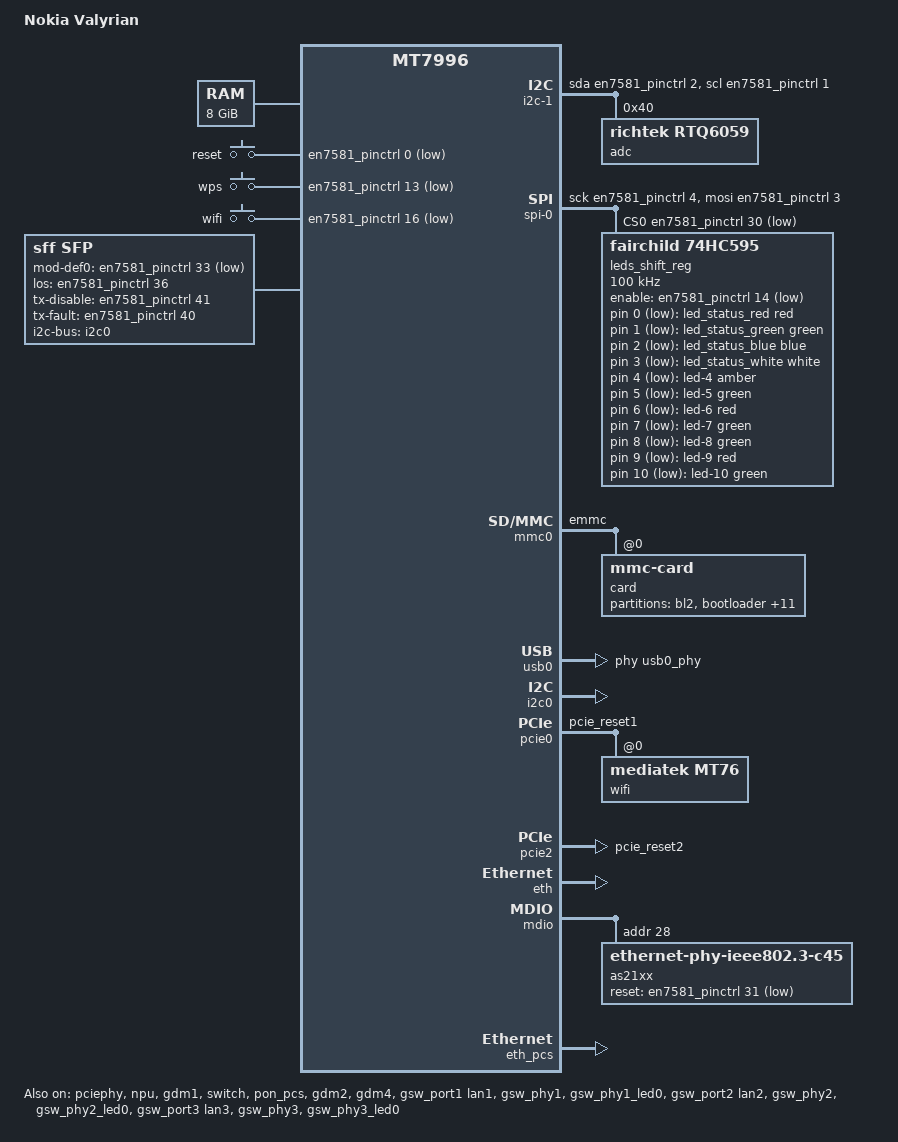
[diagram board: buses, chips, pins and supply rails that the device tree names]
// SPDX-License-Identifier: (GPL-2.0-only OR BSD-2-Clause)
/dts-v1/;

#include <dt-bindings/leds/common.h>
#include <dt-bindings/gpio/gpio.h>
#include <dt-bindings/input/input.h>
#include "an7581.dtsi"
#include "an7581-npu-mt7996.dtsi"

/ {
	model = "Nokia Valyrian";
	compatible = "nokia,valyrian", "airoha,an7581", "airoha,en7581";

	aliases {
		serial0 = &uart1;
		led-boot = &led_status_white;
		led-failsafe = &led_status_red;
		led-running = &led_status_green;
		led-upgrade = &led_status_blue;
	};

	chosen {
		bootargs = "earlycon";
		stdout-path = "serial0:115200n8";
	};

	memory@80000000 {
		device_type = "memory";
		reg = <0x0 0x80000000 0x2 0x00000000>;
	};

	gpio-keys {
		compatible = "gpio-keys";

		btn-0 {
			label = "reset";
			linux,code = <KEY_RESTART>;
			gpios = <&en7581_pinctrl 0 GPIO_ACTIVE_LOW>;
		};

		btn-1 {
			label = "wps";
			linux,code = <KEY_WPS_BUTTON>;
			gpios = <&en7581_pinctrl 13 GPIO_ACTIVE_LOW>;
		};

		btn-2 {
			label = "wifi";
			linux,code = <KEY_RFKILL>;
			gpios = <&en7581_pinctrl 16 GPIO_ACTIVE_LOW>;
		};
	};

	leds {
		compatible = "gpio-leds";

		led_status_red: led-0 {
			function = LED_FUNCTION_STATUS;
			color = <LED_COLOR_ID_RED>;
			gpios = <&leds_shift_reg 0 GPIO_ACTIVE_LOW>;
		};

		led_status_green: led-1 {
			function = LED_FUNCTION_STATUS;
			color = <LED_COLOR_ID_GREEN>;
			gpios = <&leds_shift_reg 1 GPIO_ACTIVE_LOW>;
		};

		led_status_blue: led-2 {
			function = LED_FUNCTION_STATUS;
			color = <LED_COLOR_ID_BLUE>;
			gpios = <&leds_shift_reg 2 GPIO_ACTIVE_LOW>;
		};

		led_status_white: led-3 {
			function = LED_FUNCTION_STATUS;
			color = <LED_COLOR_ID_WHITE>;
			gpios = <&leds_shift_reg 3 GPIO_ACTIVE_LOW>;
		};

		led-4 {
			function = LED_FUNCTION_POWER;
			color = <LED_COLOR_ID_AMBER>;
			gpios = <&leds_shift_reg 4 GPIO_ACTIVE_LOW>;
		};

		led-5 {
			function = LED_FUNCTION_POWER;
			color = <LED_COLOR_ID_GREEN>;
			gpios = <&leds_shift_reg 5 GPIO_ACTIVE_LOW>;
			default-state = "on";
		};

		led-6 {
			function = LED_FUNCTION_POWER;
			color = <LED_COLOR_ID_RED>;
			gpios = <&leds_shift_reg 6 GPIO_ACTIVE_LOW>;
		};

		led-7 {
			function = LED_FUNCTION_MOBILE;
			color = <LED_COLOR_ID_GREEN>;
			gpios = <&leds_shift_reg 7 GPIO_ACTIVE_LOW>;
		};

		led-8 {
			function = LED_FUNCTION_WAN;
			color = <LED_COLOR_ID_GREEN>;
			gpios = <&leds_shift_reg 8 GPIO_ACTIVE_LOW>;
		};

		led-9 {
			function = LED_FUNCTION_WAN;
			color = <LED_COLOR_ID_RED>;
			gpios = <&leds_shift_reg 9 GPIO_ACTIVE_LOW>;
		};

		led-10 {
			function = LED_FUNCTION_USB;
			color = <LED_COLOR_ID_GREEN>;
			gpios = <&leds_shift_reg 10 GPIO_ACTIVE_LOW>;
		};
	};

	sfp: sfp {
		compatible = "sff,sfp";

		i2c-bus = <&i2c0>;

		mod-def0-gpios = <&en7581_pinctrl 33 GPIO_ACTIVE_LOW>;
		los-gpios = <&en7581_pinctrl 36 GPIO_ACTIVE_HIGH>;
		tx-disable-gpios = <&en7581_pinctrl 41 GPIO_ACTIVE_HIGH>;
		tx-fault-gpios = <&en7581_pinctrl 40 GPIO_ACTIVE_HIGH>;
		maximum-power-milliwatt = <3000>;
	};

	i2c-1 {
		compatible = "i2c-gpio";

		sda-gpios = <&en7581_pinctrl 2 (GPIO_ACTIVE_HIGH|GPIO_OPEN_DRAIN)>;
		scl-gpios = <&en7581_pinctrl 1 (GPIO_ACTIVE_HIGH|GPIO_OPEN_DRAIN)>;
		i2c-gpio,delay-us = <2>;	/* ~100 kHz */

		#address-cells = <1>;
		#size-cells = <0>;

		adc@40 {
			compatible = "richtek,rtq6059";
			reg = <0x40>;

			shunt-resistor-micro-ohms = <5000>;

			#io-channel-cells = <1>;
		};
	};

	spi-0 {
                compatible = "spi-gpio";

                sck-gpios = <&en7581_pinctrl 4 GPIO_ACTIVE_HIGH>;
                mosi-gpios = <&en7581_pinctrl 3 GPIO_ACTIVE_HIGH>;
                cs-gpios = <&en7581_pinctrl 30 GPIO_ACTIVE_LOW>;

                num-chipselects = <1>;

                #address-cells = <1>;
                #size-cells = <0>;

                leds_shift_reg: gpio-expander@0 {
                        compatible = "fairchild,74hc595";
                        reg = <0>;

			enable-gpios = <&en7581_pinctrl 14 GPIO_ACTIVE_LOW>;

                        gpio-controller;

                        registers-number = <2>;
                        spi-max-frequency = <100000>;

                        #gpio-cells = <2>;
                };
        };
};

&en7581_pinctrl {
	gpio-ranges = <&en7581_pinctrl 0 13 47>;

	pcie1_rst_pins: pcie1-rst-pins {
		conf {
			pins = "pcie_reset1";
			drive-open-drain = <1>;
		};
	};

	pcie2_rst_pins: pcie2-rst-pins {
		conf {
			pins = "pcie_reset2";
			drive-open-drain = <1>;
		};
	};

	gswp1_led0_pins: gswp1-led1-pins {
		mux {
			function = "phy1_led0";
			pins = "gpio43";
		};
	};

	gswp2_led0_pins: gswp2-led1-pins {
		mux {
			function = "phy2_led0";
			pins = "gpio44";
		};
	};

	gswp3_led0_pins: gswp3-led1-pins {
		mux {
			function = "phy3_led0";
			pins = "gpio45";
		};
	};

	mmc_pins: mmc-pins {
		mux {
			function = "emmc";
			groups = "emmc";
		};
	};
};

&mmc0 {
	pinctrl-names = "default", "state_uhs";
	pinctrl-0 = <&mmc_pins>;
	pinctrl-1 = <&mmc_pins>;
	status = "okay";

	#address-cells = <1>;
	#size-cells = <0>;

	card@0 {
		compatible = "mmc-card";
		reg = <0>;

		partitions {
			compatible = "fixed-partitions";
			#address-cells = <1>;
			#size-cells = <1>;

			bl@800 {
				label = "bl2";
				reg = <0x00000800 0x0001f800>;
			};

			bootloader@20000 {
				label = "bootloader";
				reg = <0x00020000 0x000e0000>;
			};

			bootloader-inactive@100000 {
				label = "bootloader-inactive";
				reg = <0x00100000 0x000e0000>;
			};

			u-boot-env@1e0000 {
				label = "u-boot-env";
				reg = <0x001e0000 0x00020000>;

				nvmem-layout {
					compatible = "u-boot,env-layout";
				};
			};

			factory@200000 {
				label = "factory";
				reg = <0x00200000 0x00800000>;

				nvmem-layout {
					compatible = "fixed-layout";
					#address-cells = <1>;
					#size-cells = <1>;

					eeprom_factory_0: eeprom@0 {
						reg = <0x40000 0x1e00>;
					};

					mac_factory_2c0000: mac@2c0000 {
						compatible = "mac-base";
						reg = <0x2c0000 0x6>;

						#nvmem-cell-cells = <1>;
					};

					onu_type_factory_2e0000: onu_type@2e0000 {
						reg = <0x2e0000 0x10>;
					};

					board_config_factory_2e0010: board_config@2e0010 {
						reg = <0x2e0010 0x8>;
					};
				};
			};

			mfgdata@a00000 {
				label = "mfgdata";
				reg = <0x00a00000 0x00100000>;
			};

			kernel-active@b00000 {
				label = "kernel-active";
				reg = <0x00b00000 0x00800000>;
			};

			kernel-inactive@1300000 {
				label = "kernel-inactive";
				reg = <0x01300000 0x00800000>;
			};

			rootfs-active@1b00000 {
				label = "rootfs-active";
				reg = <0x01b00000 0x06400000>;
			};

			rootfs-inactive@7f00000 {
				label = "rootfs-inactive";
				reg = <0x07f00000 0x06400000>;
			};

			rootfs-data@e300000 {
				label = "rootfs_data";
				reg = <0x0e300000 0x02000000>;
			};

			securestore@10300000 {
				label = "securestore";
				reg = <0x10300000 0x1000000>;
			};

			lcm-data@11300000 {
				label = "lcm_data";
				reg = <0x11300000 0x40000000>;
			};
		};
	};
};

&usb0 {
	status = "okay";

	mediatek,u3p-dis-msk = <0x1>;
	phys = <&usb0_phy PHY_TYPE_USB2>;
};

&i2c0 {
	status = "okay";
};

&pciephy {
	status = "okay";
};

&pcie0 {
	airoha,x2-mode;
	pinctrl-names = "default";
	pinctrl-0 = <&pcie1_rst_pins>;
	status = "okay";

	pcie@0,0 {
		reg = <0x0000 0 0 0 0>;

		wifi@0,0 {
			compatible = "mediatek,mt76";
			reg = <0x0000 0 0 0 0>;

			nvmem-cells = <&eeprom_factory_0>;
			nvmem-cell-names = "eeprom";

			airoha,npu = <&npu>;
			airoha,eth = <&eth>;

			band@0 {
				/* 2.4 GHz */
				reg = <0>;
				nvmem-cells = <&mac_factory_2c0000 6>;
				nvmem-cell-names = "mac-address";
			};

			band@1 {
				/* 5 GHz */
				reg = <1>;
				nvmem-cells = <&mac_factory_2c0000 7>;
				nvmem-cell-names = "mac-address";
			};

			band@2 {
				/* 6 GHz */
				reg = <2>;
				nvmem-cells =<&mac_factory_2c0000 8>;
				nvmem-cell-names = "mac-address";
			};
		};
	};
};

&pcie2 {
	pinctrl-names = "default";
	pinctrl-0 = <&pcie2_rst_pins>;
	status = "okay";
};

&npu {
	status = "okay";
};

&eth {
	status = "okay";
};

&gdm1 {
	status = "okay";

	nvmem-cells = <&mac_factory_2c0000 3>;
	nvmem-cell-names = "mac-address";
};

&mdio {
	as21xx: ethernet-phy@1c {
		compatible = "ethernet-phy-ieee802.3-c45";
		reg = <0x1c>;

		firmware-name = "as21x1x_fw.bin";

		reset-deassert-us = <1000000>;
		reset-assert-us = <1000000>;
		reset-gpios = <&en7581_pinctrl 31 GPIO_ACTIVE_LOW>;

		leds {
			#address-cells = <1>;
			#size-cells = <0>;

			led@0 {
				reg = <0>;
				color = <LED_COLOR_ID_GREEN>;
				function = LED_FUNCTION_LAN;
				default-state = "keep";
			};
		};
	};
};

&switch {
	status = "okay";
};

&pon_pcs {
	status = "okay";
};

&gdm2 {
	status = "okay";

	sfp = <&sfp>;

	managed = "in-band-status";
	phy-mode = "usxgmii";

	nvmem-cells = <&mac_factory_2c0000 4>;
	nvmem-cell-names = "mac-address";

	openwrt,netdev-name = "wan";
};

&eth_pcs {
	status = "okay";
};

&gdm4 {
	status = "okay";

	managed = "in-band-status";
	phy-handle = <&as21xx>;
	phy-mode = "usxgmii";

	nvmem-cells = <&mac_factory_2c0000 5>;
	nvmem-cell-names = "mac-address";

	openwrt,netdev-name = "10g";
};

&gsw_port1 {
	label = "lan1";

	status = "okay";
};

&gsw_phy1 {
	pinctrl-names = "gbe-led";
	pinctrl-0 = <&gswp1_led0_pins>;

	status = "okay";
};

&gsw_phy1_led0 {
	function = LED_FUNCTION_LAN;
	active-low;

	status = "okay";
};

&gsw_port2 {
	label = "lan2";

	status = "okay";
};

&gsw_phy2 {
	pinctrl-names = "gbe-led";
	pinctrl-0 = <&gswp2_led0_pins>;

	status = "okay";
};

&gsw_phy2_led0 {
	function = LED_FUNCTION_LAN;
	active-low;

	status = "okay";
};

&gsw_port3 {
	label = "lan3";

	status = "okay";
};

&gsw_phy3 {
	pinctrl-names = "gbe-led";
	pinctrl-0 = <&gswp3_led0_pins>;

	status = "okay";
};

&gsw_phy3_led0 {
	function = LED_FUNCTION_LAN;
	active-low;

	status = "okay";
};
